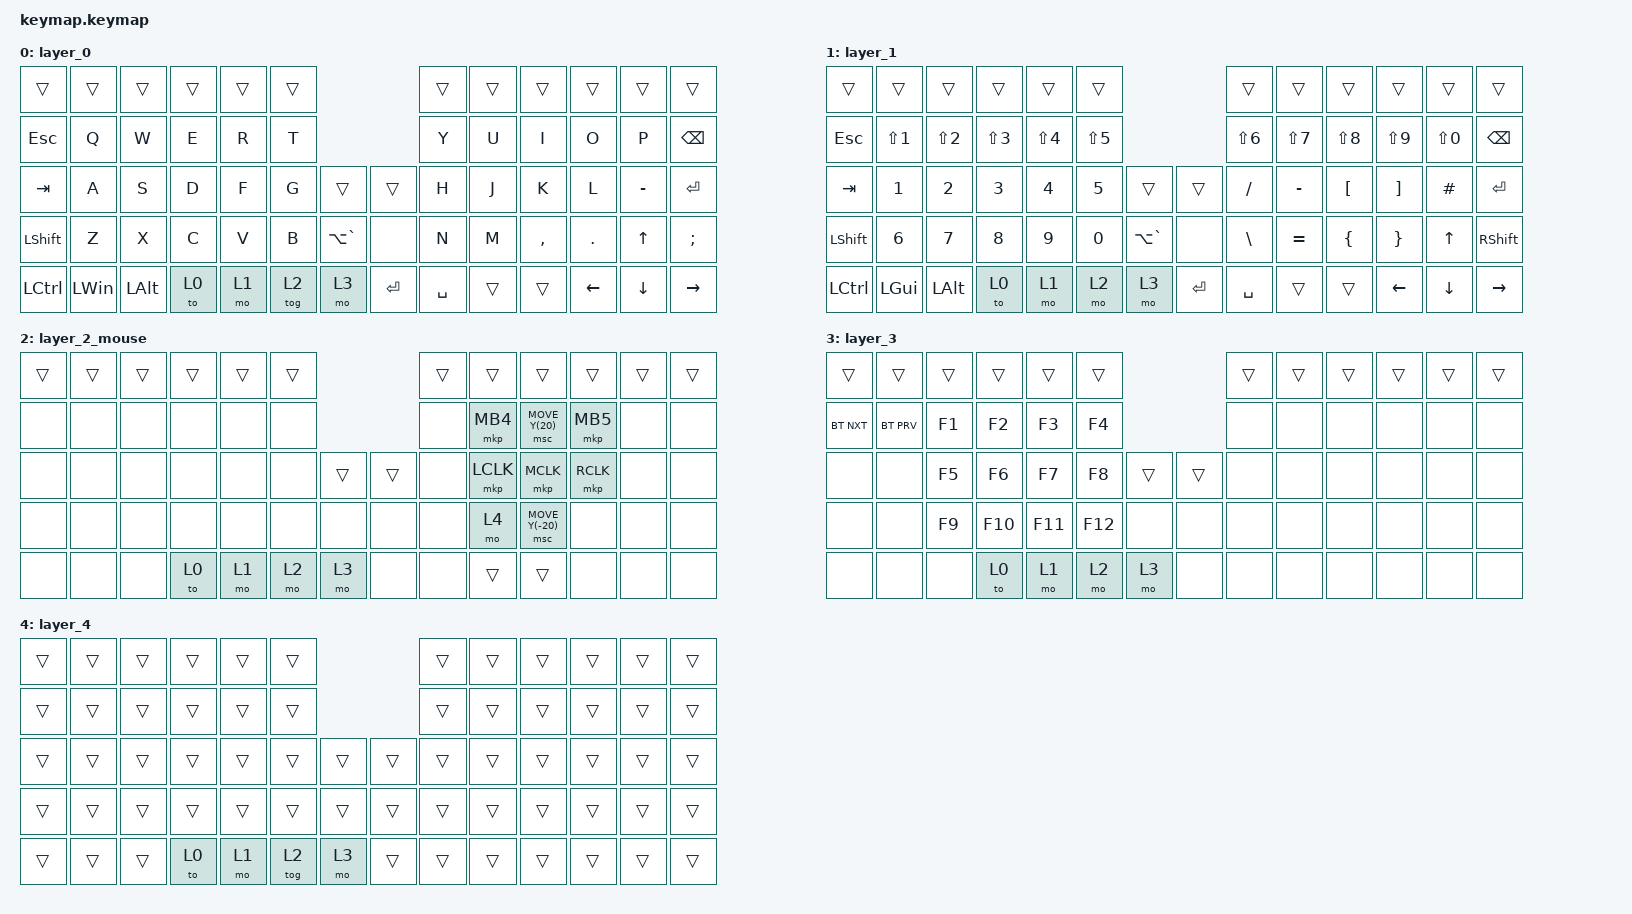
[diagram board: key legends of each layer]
#include <behaviors.dtsi>
#include <dt-bindings/zmk/bt.h>
#include <dt-bindings/zmk/keys.h>
#include <dt-bindings/zmk/pointing.h>

/ {
    combos {
        compatible = "zmk,combos";

        bt_clear {
            bindings = <&bt BT_CLR>;
            key-positions = <28 29>;
            layers = <1>;
        };
    };

    keymap {
        compatible = "zmk,keymap";

        layer_0 {
            bindings = <
&trans          &trans        &trans        &trans  &trans  &trans                            &trans     &trans  &trans     &trans          &trans          &trans
&kp ESCAPE      &kp Q         &kp W         &kp E   &kp R   &kp T                             &kp Y      &kp U   &kp I      &kp O           &kp P           &kp BSPC
&kp TAB         &kp A         &kp S         &kp D   &kp F   &kp G   &trans         &trans     &kp H      &kp J   &kp K      &kp L           &kp MINUS       &kp ENTER
&kp LEFT_SHIFT  &kp Z         &kp X         &kp C   &kp V   &kp B   &kp LA(GRAVE)  &none      &kp N      &kp M   &kp COMMA  &kp DOT         &kp UP_ARROW    &kp SEMICOLON
&kp LCTRL       &kp LEFT_WIN  &kp LEFT_ALT  &to 0   &mo 1   &tog 2  &mo 3          &kp ENTER  &kp SPACE  &trans  &trans     &kp LEFT_ARROW  &kp DOWN_ARROW  &kp RIGHT_ARROW
            >;
        };

        layer_1 {
            bindings = <
&trans            &trans            &trans            &trans      &trans      &trans                                &trans         &trans      &trans            &trans             &trans          &trans
&kp ESCAPE        &kp LS(NUMBER_1)  &kp LS(NUMBER_2)  &kp LS(N3)  &kp LS(N4)  &kp LS(N5)                            &kp LS(N6)     &kp LS(N7)  &kp LS(N8)        &kp LS(N9)         &kp LS(N0)      &kp BACKSPACE
&kp TAB           &kp N1            &kp N2            &kp N3      &kp N4      &kp N5      &trans         &trans     &kp SLASH      &kp MINUS   &kp LEFT_BRACKET  &kp RIGHT_BRACKET  &kp HASH        &kp ENTER
&kp LEFT_SHIFT    &kp N6            &kp N7            &kp N8      &kp N9      &kp N0      &kp LA(GRAVE)  &none      &kp BACKSLASH  &kp EQUAL   &kp LEFT_BRACE    &kp RIGHT_BRACE    &kp UP_ARROW    &kp RIGHT_SHIFT
&kp LEFT_CONTROL  &kp LEFT_GUI      &kp LALT          &to 0       &mo 1       &mo 2       &mo 3          &kp ENTER  &kp SPACE      &trans      &trans            &kp LEFT_ARROW     &kp DOWN_ARROW  &kp RIGHT_ARROW
            >;
        };

        layer_2_mouse {
            bindings = <
&trans  &trans  &trans  &trans  &trans  &trans                  &trans  &trans     &trans            &trans     &trans  &trans
&none   &none   &none   &none   &none   &none                   &none   &mkp MB4   &msc MOVE_Y(20)   &mkp MB5   &none   &none
&none   &none   &none   &none   &none   &none   &trans  &trans  &none   &mkp LCLK  &mkp MCLK         &mkp RCLK  &none   &none
&none   &none   &none   &none   &none   &none   &none   &none   &none   &mo 4      &msc MOVE_Y(-20)  &none      &none   &none
&none   &none   &none   &to 0   &mo 1   &mo 2   &mo 3   &none   &none   &trans     &trans            &none      &none   &none
            >;
        };

        layer_3 {
            bindings = <
&trans      &trans      &trans  &trans   &trans   &trans                   &trans  &trans  &trans  &trans  &trans  &trans
&bt BT_NXT  &bt BT_PRV  &kp F1  &kp F2   &kp F3   &kp F4                   &none   &none   &none   &none   &none   &none
&none       &none       &kp F5  &kp F6   &kp F7   &kp F8   &trans  &trans  &none   &none   &none   &none   &none   &none
&none       &none       &kp F9  &kp F10  &kp F11  &kp F12  &none   &none   &none   &none   &none   &none   &none   &none
&none       &none       &none   &to 0    &mo 1    &mo 2    &mo 3   &none   &none   &none   &none   &none   &none   &none
            >;
        };

        layer_4 {
            bindings = <
&trans  &trans  &trans  &trans  &trans  &trans                  &trans  &trans  &trans  &trans  &trans  &trans
&trans  &trans  &trans  &trans  &trans  &trans                  &trans  &trans  &trans  &trans  &trans  &trans
&trans  &trans  &trans  &trans  &trans  &trans  &trans  &trans  &trans  &trans  &trans  &trans  &trans  &trans
&trans  &trans  &trans  &trans  &trans  &trans  &trans  &trans  &trans  &trans  &trans  &trans  &trans  &trans
&trans  &trans  &trans  &to 0   &mo 1   &tog 2  &mo 3   &trans  &trans  &trans  &trans  &trans  &trans  &trans
            >;
        };
    };
};
